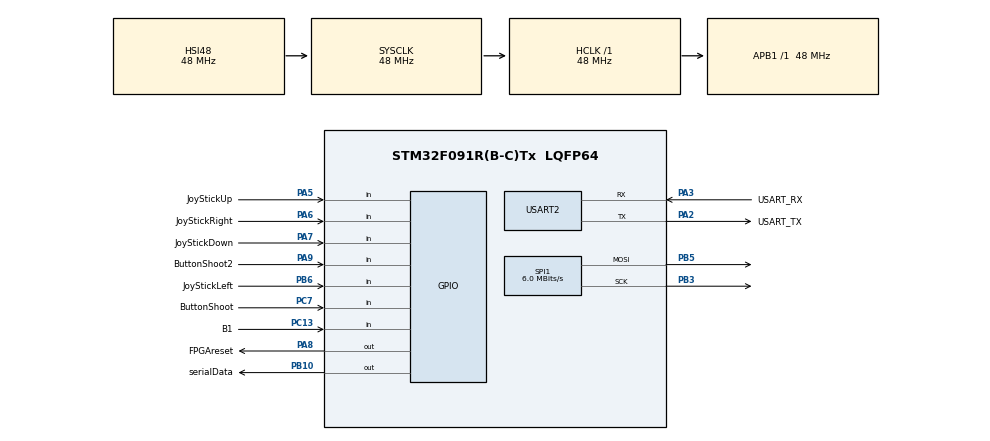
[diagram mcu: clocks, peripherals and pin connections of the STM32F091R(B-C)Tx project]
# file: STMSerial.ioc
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FREERTOS.HEAP_NUMBER=3
FREERTOS.Tasks01=SerialSend,24,1024,startSend,Default,NULL,Dynamic,NULL,NULL
FREERTOS.configTOTAL_HEAP_SIZE=8020
FREERTOS.configUSE_NEWLIB_REENTRANT=1
Mcu.Family=STM32F0
Mcu.Name=STM32F091R(B-C)Tx
Mcu.Package=LQFP64
PA13.GPIO_Label=TMS
PA13.Mode=Serial_Wire
PA13.Signal=SYS_SWDIO
PA14.GPIO_Label=TCK
PA14.Mode=Serial_Wire
PA14.Signal=SYS_SWCLK
PA2.GPIO_Label=USART_TX
PA2.GPIO_Mode=GPIO_MODE_AF_PP
PA2.GPIO_PuPd=GPIO_NOPULL
PA2.GPIO_Speed=GPIO_SPEED_FREQ_LOW
PA2.Mode=Asynchronous
PA2.Signal=USART2_TX
PA3.GPIO_Label=USART_RX
PA3.GPIO_Mode=GPIO_MODE_AF_PP
PA3.GPIO_PuPd=GPIO_NOPULL
PA3.GPIO_Speed=GPIO_SPEED_FREQ_LOW
PA3.Mode=Asynchronous
PA3.Signal=USART2_RX
PA5.GPIO_Label=JoyStickUp
PA5.GPIO_PuPd=GPIO_PULLDOWN
PA5.Signal=GPIO_Input
PA6.GPIO_Label=JoyStickRight
PA6.GPIO_PuPd=GPIO_PULLDOWN
PA6.Signal=GPIO_Input
PA7.GPIO_Label=JoyStickDown
PA7.GPIO_PuPd=GPIO_PULLDOWN
PA7.Signal=GPIO_Input
PA8.GPIO_Label=FPGAreset
PA8.PinState=GPIO_PIN_RESET
PA8.Signal=GPIO_Output
PA9.GPIO_Label=ButtonShoot2
PA9.GPIO_PuPd=GPIO_PULLDOWN
PA9.Signal=GPIO_Input
PB10.GPIO_Label=serialData
PB10.GPIO_Speed=GPIO_SPEED_FREQ_HIGH
PB10.Signal=GPIO_Output
PB3.Mode=TX_Only_Simplex_Unidirect_Master
PB3.Signal=SPI1_SCK
PB5.Mode=TX_Only_Simplex_Unidirect_Master
PB5.Signal=SPI1_MOSI
PB6.GPIO_Label=JoyStickLeft
PB6.GPIO_PuPd=GPIO_PULLDOWN
PB6.Signal=GPIO_Input
PC13.GPIO_Label=B1 
PC13.GPIO_PuPd=GPIO_PULLUP
PC13.Signal=GPIO_Input
PC14OSC32_IN.Mode=LSE-External-Oscillator
PC14OSC32_IN.Signal=RCC_OSC32_IN
PC15OSC32_OUT.Mode=LSE-External-Oscillator
PC15OSC32_OUT.Signal=RCC_OSC32_OUT
PC7.GPIO_Label=ButtonShoot
PC7.GPIO_PuPd=GPIO_PULLDOWN
PC7.Signal=GPIO_Input
PF0-OSC_IN.Mode=HSE-External-Oscillator
PF0-OSC_IN.Signal=RCC_OSC_IN
PF1-OSC_OUT.Mode=HSE-External-Oscillator
PF1-OSC_OUT.Signal=RCC_OSC_OUT
ProjectManager.HeapSize=0x200
ProjectManager.StackSize=0x400
ProjectManager.TargetToolchain=STM32CubeIDE
RCC.AHBFreq_Value=48000000
RCC.APB1Freq_Value=48000000
RCC.APB1TimFreq_Value=48000000
RCC.FLatency-AdvancedSettings=FLASH_LATENCY_1
RCC.HCLKFreq_Value=48000000
RCC.PLLMUL=RCC_PLL_MUL6
RCC.PLLSourceVirtual=RCC_PLLSOURCE_HSE
RCC.PREFETCH_ENABLE-AdvancedSettings=1
RCC.SYSCLKFreq_VALUE=48000000
RCC.SYSCLKSource=RCC_SYSCLKSOURCE_HSI48
SPI1.BaudRatePrescaler=SPI_BAUDRATEPRESCALER_8
SPI1.CLKPhase=SPI_PHASE_1EDGE
SPI1.CLKPolarity=SPI_POLARITY_LOW
SPI1.CalculateBaudRate=6.0 MBits/s
SPI1.DataSize=SPI_DATASIZE_8BIT
SPI1.Direction=SPI_DIRECTION_2LINES
SPI1.FirstBit=SPI_FIRSTBIT_LSB
SPI1.Mode=SPI_MODE_MASTER
SPI1.VirtualType=VM_MASTER
USART2.VirtualMode=VM_ASYNC
USART2.VirtualMode-Asynchronous=VM_ASYNC
VP_FREERTOS_VS_CMSIS_V2.Mode=CMSIS_V2
board=NUCLEO-F091RC

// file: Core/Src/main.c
/* USER CODE BEGIN Header */
/**
 ******************************************************************************
 * @file           : main.c
 * @brief          : Main program body
 ******************************************************************************
 * @attention
 *
 * Copyright (c) 2023 STMicroelectronics.
 * All rights reserved.
 *
 * This software is licensed under terms that can be found in the LICENSE file
 * in the root directory of this software component.
 * If no LICENSE file comes with this software, it is provided AS-IS.
 *
 ******************************************************************************
 */
/* USER CODE END Header */
#include "main.h"
#include "cmsis_os.h"

/* USER CODE BEGIN Includes */

extern "C" {
#include "FreeRTOS.h"
#include "task.h"
}
#include "Quad.h"
#include "Entity.h"
#include "LevelManager.h"
#include "Communication.h"

#include "Game.h"
/* USER CODE END Includes */

SPI_HandleTypeDef hspi1;

UART_HandleTypeDef huart2;

/* Definitions for SerialSend */
osThreadId_t SerialSendHandle;
const osThreadAttr_t SerialSend_attributes = {
  .name = "SerialSend",
  .stack_size = 1024 * 4,
  .priority = (osPriority_t) osPriorityNormal,
};

void SystemClock_Config(void);
static void MX_GPIO_Init(void);
static void MX_USART2_UART_Init(void);
static void MX_SPI1_Init(void);
void startSend(void *argument);

int main(void)
{

  /* MCU Configuration--------------------------------------------------------*/

  /* Reset of all peripherals, Initializes the Flash interface and the Systick. */
  HAL_Init();

  /* Configure the system clock */
  SystemClock_Config();

  /* Initialize all configured peripherals */
  MX_GPIO_Init();
  MX_USART2_UART_Init();
  MX_SPI1_Init();

  /* Init scheduler */
  osKernelInitialize();

  /* Create the thread(s) */
  /* creation of SerialSend */
  SerialSendHandle = osThreadNew(startSend, NULL, &SerialSend_attributes);

  /* Start scheduler */
  osKernelStart();

  /* We should never get here as control is now taken by the scheduler */
  /* Infinite loop */
	while (1) {

	}
}

void SystemClock_Config(void)
{
  RCC_OscInitTypeDef RCC_OscInitStruct = {0};
  RCC_ClkInitTypeDef RCC_ClkInitStruct = {0};
  RCC_PeriphCLKInitTypeDef PeriphClkInit = {0};

  /** Initializes the RCC Oscillators according to the specified parameters
  * in the RCC_OscInitTypeDef structure.
  */
  RCC_OscInitStruct.OscillatorType = RCC_OSCILLATORTYPE_HSI48;
  RCC_OscInitStruct.HSI48State = RCC_HSI48_ON;
  RCC_OscInitStruct.PLL.PLLState = RCC_PLL_NONE;
  if (HAL_RCC_OscConfig(&RCC_OscInitStruct) != HAL_OK)
  {
    Error_Handler();
  }

  /** Initializes the CPU, AHB and APB buses clocks
  */
  RCC_ClkInitStruct.ClockType = RCC_CLOCKTYPE_HCLK|RCC_CLOCKTYPE_SYSCLK
                              |RCC_CLOCKTYPE_PCLK1;
  RCC_ClkInitStruct.SYSCLKSource = RCC_SYSCLKSOURCE_HSI48;
  RCC_ClkInitStruct.AHBCLKDivider = RCC_SYSCLK_DIV1;
  RCC_ClkInitStruct.APB1CLKDivider = RCC_HCLK_DIV1;

  if (HAL_RCC_ClockConfig(&RCC_ClkInitStruct, FLASH_LATENCY_1) != HAL_OK)
  {
    Error_Handler();
  }
  PeriphClkInit.PeriphClockSelection = RCC_PERIPHCLK_USART2;
  PeriphClkInit.Usart2ClockSelection = RCC_USART2CLKSOURCE_PCLK1;
  if (HAL_RCCEx_PeriphCLKConfig(&PeriphClkInit) != HAL_OK)
  {
    Error_Handler();
  }
}

static void MX_SPI1_Init(void)
{

  /* SPI1 parameter configuration*/
  hspi1.Instance = SPI1;
  hspi1.Init.Mode = SPI_MODE_MASTER;
  hspi1.Init.Direction = SPI_DIRECTION_2LINES;
  hspi1.Init.DataSize = SPI_DATASIZE_8BIT;
  hspi1.Init.CLKPolarity = SPI_POLARITY_LOW;
  hspi1.Init.CLKPhase = SPI_PHASE_1EDGE;
  hspi1.Init.NSS = SPI_NSS_SOFT;
  hspi1.Init.BaudRatePrescaler = SPI_BAUDRATEPRESCALER_8;
  hspi1.Init.FirstBit = SPI_FIRSTBIT_LSB;
  hspi1.Init.TIMode = SPI_TIMODE_DISABLE;
  hspi1.Init.CRCCalculation = SPI_CRCCALCULATION_DISABLE;
  hspi1.Init.CRCPolynomial = 7;
  hspi1.Init.CRCLength = SPI_CRC_LENGTH_DATASIZE;
  hspi1.Init.NSSPMode = SPI_NSS_PULSE_ENABLE;
  if (HAL_SPI_Init(&hspi1) != HAL_OK)
  {
    Error_Handler();
  }

}

static void MX_USART2_UART_Init(void)
{

  huart2.Instance = USART2;
  huart2.Init.BaudRate = 115200;
  huart2.Init.WordLength = UART_WORDLENGTH_8B;
  huart2.Init.StopBits = UART_STOPBITS_1;
  huart2.Init.Parity = UART_PARITY_NONE;
  huart2.Init.Mode = UART_MODE_TX_RX;
  huart2.Init.HwFlowCtl = UART_HWCONTROL_NONE;
  huart2.Init.OverSampling = UART_OVERSAMPLING_16;
  huart2.Init.OneBitSampling = UART_ONE_BIT_SAMPLE_DISABLE;
  huart2.AdvancedInit.AdvFeatureInit = UART_ADVFEATURE_NO_INIT;
  if (HAL_UART_Init(&huart2) != HAL_OK)
  {
    Error_Handler();
  }

}

static void MX_GPIO_Init(void)
{
  GPIO_InitTypeDef GPIO_InitStruct = {0};

  /* GPIO Ports Clock Enable */
  __HAL_RCC_GPIOC_CLK_ENABLE();
  __HAL_RCC_GPIOF_CLK_ENABLE();
  __HAL_RCC_GPIOA_CLK_ENABLE();
  __HAL_RCC_GPIOB_CLK_ENABLE();

  /*Configure GPIO pin Output Level */
  HAL_GPIO_WritePin(serialData_GPIO_Port, serialData_Pin, GPIO_PIN_RESET);

  /*Configure GPIO pin Output Level */
  HAL_GPIO_WritePin(FPGAreset_GPIO_Port, FPGAreset_Pin, GPIO_PIN_RESET);

  /*Configure GPIO pin : B1_Pin */
  GPIO_InitStruct.Pin = B1_Pin;
  GPIO_InitStruct.Mode = GPIO_MODE_INPUT;
  GPIO_InitStruct.Pull = GPIO_PULLUP;
  HAL_GPIO_Init(B1_GPIO_Port, &GPIO_InitStruct);

  /*Configure GPIO pins : JoyStickUp_Pin JoyStickRight_Pin JoyStickDown_Pin ButtonShoot2_Pin */
  GPIO_InitStruct.Pin = JoyStickUp_Pin|JoyStickRight_Pin|JoyStickDown_Pin|ButtonShoot2_Pin;
  GPIO_InitStruct.Mode = GPIO_MODE_INPUT;
  GPIO_InitStruct.Pull = GPIO_PULLDOWN;
  HAL_GPIO_Init(GPIOA, &GPIO_InitStruct);

  /*Configure GPIO pin : serialData_Pin */
  GPIO_InitStruct.Pin = serialData_Pin;
  GPIO_InitStruct.Mode = GPIO_MODE_OUTPUT_PP;
  GPIO_InitStruct.Pull = GPIO_NOPULL;
  GPIO_InitStruct.Speed = GPIO_SPEED_FREQ_HIGH;
  HAL_GPIO_Init(serialData_GPIO_Port, &GPIO_InitStruct);

  /*Configure GPIO pin : ButtonShoot_Pin */
  GPIO_InitStruct.Pin = ButtonShoot_Pin;
  GPIO_InitStruct.Mode = GPIO_MODE_INPUT;
  GPIO_InitStruct.Pull = GPIO_PULLDOWN;
  HAL_GPIO_Init(ButtonShoot_GPIO_Port, &GPIO_InitStruct);

  /*Configure GPIO pin : FPGAreset_Pin */
  GPIO_InitStruct.Pin = FPGAreset_Pin;
  GPIO_InitStruct.Mode = GPIO_MODE_OUTPUT_PP;
  GPIO_InitStruct.Pull = GPIO_NOPULL;
  GPIO_InitStruct.Speed = GPIO_SPEED_FREQ_LOW;
  HAL_GPIO_Init(FPGAreset_GPIO_Port, &GPIO_InitStruct);

  /*Configure GPIO pin : JoyStickLeft_Pin */
  GPIO_InitStruct.Pin = JoyStickLeft_Pin;
  GPIO_InitStruct.Mode = GPIO_MODE_INPUT;
  GPIO_InitStruct.Pull = GPIO_PULLDOWN;
  HAL_GPIO_Init(JoyStickLeft_GPIO_Port, &GPIO_InitStruct);

}

/* USER CODE BEGIN 4 */

void fpgaReset() {
	HAL_GPIO_WritePin(GPIOA, GPIO_PIN_8, GPIO_PIN_SET);
	//HAL_Delay(100);
	HAL_GPIO_WritePin(GPIOA, GPIO_PIN_8, GPIO_PIN_RESET);
	HAL_Delay(10);

//	for (int i = 0; i < 17; i++) {
//		serialClockWrite(1);
//		serialClockWrite(0);
//	}

	/*hspi1.Init.DataSize = SPI_DATASIZE_11BIT;

	 if (HAL_SPI_Init(&hspi1) != HAL_OK) {
	 Error_Handler();
	 }

	 uint8_t buffer[2] = { 0b11110111, 0b111 };

	 for (int i = 0; i < 3; i++) {
	 uint16_t data = 0x07FF; // 11-bit data

	 HAL_SPI_Transmit(&hspi1, (uint8_t*) &data, 2, 100);
	 HAL_Delay(10);
	 }

	 hspi1.Init.DataSize = SPI_DATASIZE_8BIT;

	 if (HAL_SPI_Init(&hspi1) != HAL_OK) {
	 Error_Handler();
	 }*/

//HAL_Delay(1000000);
}

/* USER CODE END 4 */

void startSend(void *argument)
{
  /* USER CODE BEGIN 5 */
	fpgaReset();
	uint8_t buffer[226] = { 0 };

	for (int i = 0; i < 2; i++) {
		HAL_SPI_Transmit(&hspi1, (uint8_t*) buffer, 226, 100);

	}
	fpgaReset();
	/* Infinite loop */

	Game game(&hspi1);

	game.setup();

	for (;;) {
		static long long lastFrameUpdate = 0;
		if (xTaskGetTickCount() >= lastFrameUpdate + 33) {
			lastFrameUpdate = xTaskGetTickCount();
			game.run();
		}

	}
  /* USER CODE END 5 */
}

void Error_Handler(void)
{
	__disable_irq();
	while (1) {
	}
}
